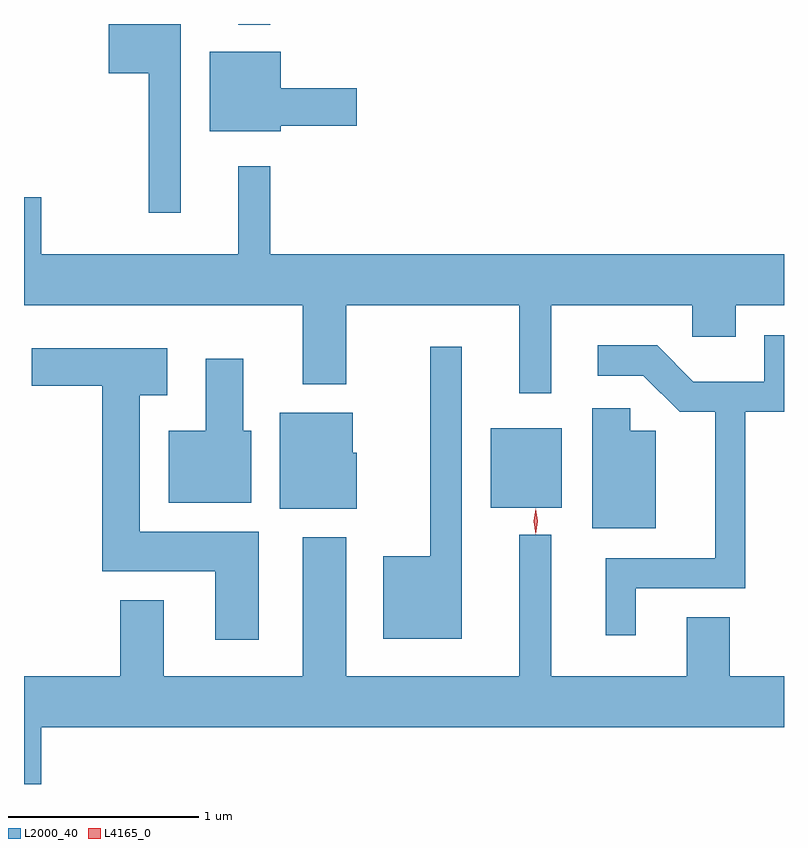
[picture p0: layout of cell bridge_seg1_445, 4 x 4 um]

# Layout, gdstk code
import gdstk
lib = gdstk.Library(unit=1e-6, precision=1e-09)
def R(c, l, rs):  # rectangles x0, y0, x1, y1
    for r in rs: c.add(gdstk.rectangle(r[:2], r[2:], *l))
def P(c, l, *ps):  # polygons
    for p in ps: c.add(gdstk.Polygon(p, *l))
L2000_40 = (2000, 40)
L4165_0 = (4165, 0)

bridge_seg1_445 = lib.new_cell('bridge_seg1_445')
R(bridge_seg1_445, L2000_40, [(257.671,854.111,258.044,854.529), (256.341,856.653,256.509,856.656)])
P(bridge_seg1_445, L2000_40, [(256.039,856.656),(255.661,856.656),(255.661,856.396),(255.871,856.396),(255.871,855.663),(256.039,855.663)],
  [(256.564,856.121),(256.964,856.121),(256.964,856.319),(256.564,856.319),(256.564,856.509),(256.191,856.509),(256.191,856.091),(256.564,856.091)],
  [(257.989,855.176),(258.731,855.176),(258.731,855.011),(258.959,855.011),(258.959,855.176),(259.214,855.176),(259.214,855.444),(256.509,855.444),(256.509,855.908),(256.341,855.908),(256.341,855.444),(255.304,855.444),(255.304,855.744),(255.214,855.744),(255.214,855.176),(256.681,855.176),(256.681,854.761),(256.909,854.761),(256.909,855.176),(257.821,855.176),(257.821,854.713),(257.989,854.713)],
  [(258.434,853.686),(259.009,853.686),(259.009,854.616),(259.214,854.616),(259.214,855.019),(259.111,855.019),(259.111,854.774),(258.736,854.774),(258.546,854.964),(258.233,854.964),(258.233,854.806),(258.474,854.806),(258.664,854.616),(258.851,854.616),(258.851,853.844),(258.276,853.844),(258.276,853.438),(258.434,853.438)],
  [(257.519,854.958),(257.351,854.958),(257.351,853.854),(257.106,853.854),(257.106,853.421),(257.519,853.421)],
  [(256.449,853.984),(255.824,853.984),(255.824,854.701),(255.969,854.701),(255.969,854.949),(255.256,854.949),(255.256,854.751),(255.626,854.751),(255.626,853.776),(256.221,853.776),(256.221,853.416),(256.449,853.416)],
  [(256.409,854.514),(256.369,854.514),(256.369,854.894),(256.171,854.894),(256.171,854.514),(255.976,854.514),(255.976,854.136),(256.409,854.136)],
  [(258.539,854.514),(258.404,854.514),(258.404,854.634),(258.206,854.634),(258.206,854.001),(258.539,854.001)],
  [(256.964,854.399),(256.944,854.399),(256.944,854.609),(256.561,854.609),(256.561,854.106),(256.964,854.106)],
  [(255.304,852.956),(259.214,852.956),(259.214,853.224),(258.929,853.224),(258.929,853.534),(258.701,853.534),(258.701,853.224),(257.989,853.224),(257.989,853.968),(257.821,853.968),(257.821,853.224),(256.909,853.224),(256.909,853.954),(256.681,853.954),(256.681,853.224),(255.949,853.224),(255.949,853.624),(255.721,853.624),(255.721,853.224),(255.214,853.224),(255.214,852.656),(255.304,852.656)])
P(bridge_seg1_445, L4165_0, [(257.907,853.973),(257.898,854.037),(257.907,854.101),(257.908,854.102),(257.908,854.101),(257.918,854.037),(257.908,853.973),(257.908,853.973)],
  [(257.907,853.97),(257.898,854.038),(257.907,854.106),(257.908,854.106),(257.908,854.106),(257.918,854.038),(257.908,853.97),(257.908,853.97)])

lib.write_gds('bridge_seg1_445.gds')
